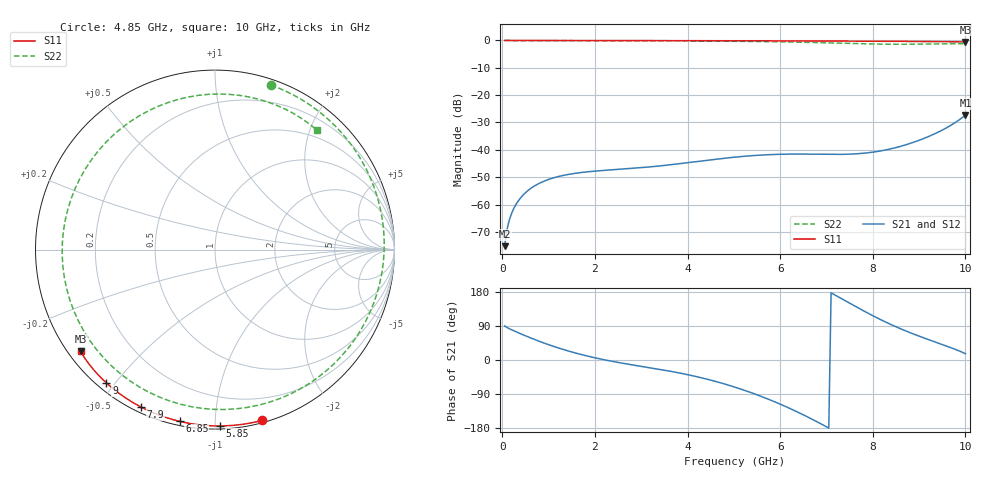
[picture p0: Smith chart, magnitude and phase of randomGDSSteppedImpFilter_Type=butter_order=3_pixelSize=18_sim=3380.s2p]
! freq	dB(S11)	phase(S11)	dB(S12)	phase(S12)
!  dB(S21)	phase(S21)	dB(S22)	phase(S22)
!S-par simulation data
#  GHz  S  DB  R 50
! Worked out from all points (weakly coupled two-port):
!   200 points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, 50 MHz to 10 GHz, reference 50 ohm
!   highest |S21| = -27.31 dB at 10 GHz (marker M1); lowest = -75.2 dB at 50 MHz (marker M2)
!   lowest |S11| = -0.6 dB at 10 GHz (marker M3), VSWR 31.44, Z = 1.77 - j16.8 ohm
!   |S11| at or under -10 dB: nowhere
!   |S22| runs from -1.4 to 0.0 dB; largest |S21 - S12| = 0
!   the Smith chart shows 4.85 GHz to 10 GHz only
!   S11 on the Smith chart (normalised r, x): 4.85 GHz: 0.02, -1.31; 5.85 GHz: 0.02, -1.03; 6.85 GHz: 0.02, -0.81; 7.9 GHz: 0.02, -0.63; 9 GHz: 0.03, -0.47; 10 GHz: 0.04, -0.34
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0.05  -0.01 -0.8  -75.23 89.7  -75.23 89.7  -0.01 -4.7
0.1  -0.01 -1.6  -69.23 85.8  -69.23 85.8  -0.03 -9.3
0.2  -0.01 -3.3  -63.27 79.9  -63.27 79.9  -0.05 -18.3
0.5  -0.01 -8.1  -55.69 63.9  -55.69 63.9  -0.07 -44.6
1.05  -0.02 -17.0  -50.54 38.3  -50.54 38.3  -0.10 -88.2
1.75  -0.04 -28.2  -48.20 13.1  -48.20 13.1  -0.13 -133.7
2.55  -0.05 -40.6  -47.10 -7.5  -47.10 -7.5  -0.15 -176.1
3.4  -0.07 -53.5  -45.89 -24.8  -45.89 -24.8  -0.17 143.4
4.15  -0.09 -64.6  -44.38 -42.6  -44.38 -42.6  -0.22 107.4
4.85  -0.11 -74.6  -42.97 -65.1  -42.97 -65.1  -0.28 71.3
5.05  -0.12 -77.4  -42.63 -72.7  -42.63 -72.7  -0.31 60.2
5.85  -0.15 -88.4  -41.71 -108.7  -41.71 -108.7  -0.46 11.9
6.25  -0.17 -93.8  -41.56 -130.1  -41.56 -130.1  -0.58 -15.1
6.7  -0.19 -99.7  -41.60 -156.9  -41.60 -156.9  -0.76 -47.6
6.85  -0.20 -101.7  -41.64 -166.4  -41.64 -166.4  -0.82 -58.9
7.35  -0.23 -108.2  -41.65 160.3  -41.65 160.3  -1.06 -98.4
7.9  -0.27 -115.2  -41.07 123.3  -41.07 123.3  -1.29 -144.1
8.35  -0.31 -120.9  -39.79 96.0  -39.79 96.0  -1.40 177.6
8.65  -0.34 -124.7  -38.49 79.9  -38.49 79.9  -1.41 152.2
9  -0.38 -129.2  -36.52 63.0  -36.52 63.0  -1.36 123.5
9.5  -0.44 -135.7  -32.79 40.8  -32.79 40.8  -1.22 84.8
10  -0.55 -142.8  -27.31 16.7  -27.31 16.7  -1.16 49.5
